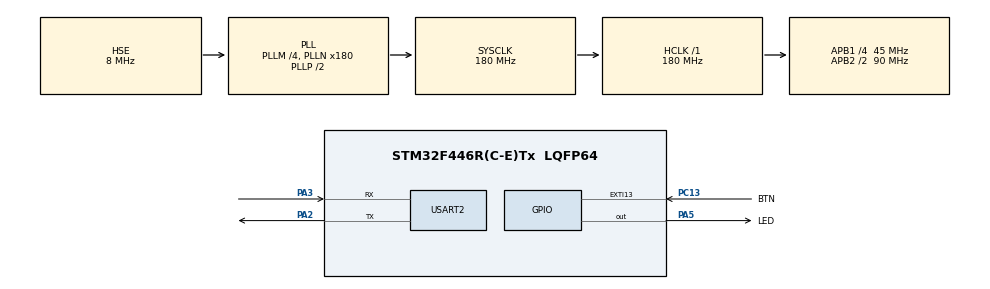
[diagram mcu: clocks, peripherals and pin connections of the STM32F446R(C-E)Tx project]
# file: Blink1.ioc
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Mcu.Family=STM32F4
Mcu.Name=STM32F446R(C-E)Tx
Mcu.Package=LQFP64
NVIC.EXTI15_10_IRQn=true\:0\:0\:false\:false\:true\:true\:true\:true
NVIC.PriorityGroup=NVIC_PRIORITYGROUP_4
PA13.Mode=Serial_Wire
PA13.Signal=SYS_JTMS-SWDIO
PA14.Mode=Serial_Wire
PA14.Signal=SYS_JTCK-SWCLK
PA2.Mode=Asynchronous
PA2.Signal=USART2_TX
PA3.Mode=Asynchronous
PA3.Signal=USART2_RX
PA5.GPIO_Label=LED
PA5.GPIO_ModeDefaultOutputPP=GPIO_MODE_OUTPUT_PP
PA5.GPIO_PuPd=GPIO_NOPULL
PA5.PinState=GPIO_PIN_SET
PA5.Signal=GPIO_Output
PC13.GPIO_Label=BTN
PC13.GPIO_PuPd=GPIO_PULLUP
PC13.Signal=GPXTI13
PH0-OSC_IN.Mode=HSE-External-Oscillator
PH0-OSC_IN.Signal=RCC_OSC_IN
PH1-OSC_OUT.Mode=HSE-External-Oscillator
PH1-OSC_OUT.Signal=RCC_OSC_OUT
ProjectManager.HeapSize=0x200
ProjectManager.StackSize=0x400
ProjectManager.TargetToolchain=STM32CubeIDE
RCC.AHBFreq_Value=180000000
RCC.APB1CLKDivider=RCC_HCLK_DIV4
RCC.APB1Freq_Value=45000000
RCC.APB1TimFreq_Value=90000000
RCC.APB2CLKDivider=RCC_HCLK_DIV2
RCC.APB2Freq_Value=90000000
RCC.APB2TimFreq_Value=180000000
RCC.CortexFreq_Value=180000000
RCC.HCLKFreq_Value=180000000
RCC.HSE_VALUE=8000000
RCC.PLLM=4
RCC.PLLN=180
RCC.PLLSourceVirtual=RCC_PLLSOURCE_HSE
RCC.SYSCLKFreq_VALUE=180000000
RCC.SYSCLKSource=RCC_SYSCLKSOURCE_PLLCLK
RCC.USBFreq_Value=180000000
RCC.VCOOutputFreq_Value=360000000
USART2.VirtualMode=VM_ASYNC
board=custom

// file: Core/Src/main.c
/* USER CODE BEGIN Header */
/**
 ******************************************************************************
 * @file           : main.c
 * @brief          : Main program body
 ******************************************************************************
 * @attention
 *
 * Copyright (c) 2026 STMicroelectronics.
 * All rights reserved.
 *
 * This software is licensed under terms that can be found in the LICENSE file
 * in the root directory of this software component.
 * If no LICENSE file comes with this software, it is provided AS-IS.
 *
 ******************************************************************************
 */
/* USER CODE END Header */
#include "main.h"

/* USER CODE BEGIN Includes */

#include<stdlib.h>
#include <stdio.h>

/* USER CODE END Includes */

UART_HandleTypeDef huart2;

/* USER CODE BEGIN PV */
uint8_t buttonPressed = 0;

uint32_t blinkDelays[] =
		{ 1000, 500, 250, 100 };

uint16_t blinkDelay = 0;
uint8_t delaysIndex = 0;

/* USER CODE END PV */

void SystemClock_Config(void);
static void MX_GPIO_Init(void);
static void MX_USART2_UART_Init(void);

/* USER CODE BEGIN 0 */
// Change &huart1 to &huart2 (or &huart3) depending on your board
int _write(int file, char *ptr, int len)
{
	HAL_UART_Transmit(&huart2, (uint8_t*) ptr, len, HAL_MAX_DELAY);
	return len;
}

void HAL_GPIO_EXTI_Callback(uint16_t GPIO_Pin)
{
	if (GPIO_Pin == BTN_Pin)
	{
		buttonPressed = 1;
	}
}
/* USER CODE END 0 */

int main(void)
{

	/* MCU Configuration--------------------------------------------------------*/

	/* Reset of all peripherals, Initializes the Flash interface and the Systick. */
	HAL_Init();

	/* Configure the system clock */
	SystemClock_Config();

	/* Initialize all configured peripherals */
	MX_GPIO_Init();
	MX_USART2_UART_Init();
	/* USER CODE BEGIN 2 */
	printf("Starting Blink1...\r\n");
	/* USER CODE END 2 */

	/* Infinite loop */
	/* USER CODE BEGIN WHILE */

	blinkDelay = blinkDelays[0];

	printf("Blink Delay: %u. \r\n", blinkDelay);

	uint32_t msSinceReset = 0;
	uint32_t nextBlink = blinkDelay;
	uint32_t nextTick = 0;
	uint32_t loop = 0;

	while (1)
	{
		msSinceReset = uwTick; // number of milliseconds since power on or reset

		if (msSinceReset >= nextBlink)
		{
			HAL_GPIO_TogglePin(LED_GPIO_Port, LED_Pin);

			nextBlink = msSinceReset + blinkDelay;
		}

		if (msSinceReset >= nextTick)
		{
			printf("Tick %lu (loop = %lu)\r\n", msSinceReset / 1000, loop);

			loop = 0;

			nextTick = msSinceReset + 1000;
		}

		if (buttonPressed)
		{
			delaysIndex++;

			if (delaysIndex > 3)
			{
				delaysIndex = 0;
			}

			blinkDelay = blinkDelays[delaysIndex];

			buttonPressed = 0;

			printf("Blink Delay: %d. \r\n", blinkDelay);
		}

		loop++;

		/* USER CODE END WHILE */

	}
}

void SystemClock_Config(void)
{
	RCC_OscInitTypeDef RCC_OscInitStruct =
			{ 0 };
	RCC_ClkInitTypeDef RCC_ClkInitStruct =
			{ 0 };

	/** Configure the main internal regulator output voltage
	 */
	__HAL_RCC_PWR_CLK_ENABLE();
	__HAL_PWR_VOLTAGESCALING_CONFIG(PWR_REGULATOR_VOLTAGE_SCALE1);

	/** Initializes the RCC Oscillators according to the specified parameters
	 * in the RCC_OscInitTypeDef structure.
	 */
	RCC_OscInitStruct.OscillatorType = RCC_OSCILLATORTYPE_HSE;
	RCC_OscInitStruct.HSEState = RCC_HSE_ON;
	RCC_OscInitStruct.PLL.PLLState = RCC_PLL_ON;
	RCC_OscInitStruct.PLL.PLLSource = RCC_PLLSOURCE_HSE;
	RCC_OscInitStruct.PLL.PLLM = 4;
	RCC_OscInitStruct.PLL.PLLN = 180;
	RCC_OscInitStruct.PLL.PLLP = RCC_PLLP_DIV2;
	RCC_OscInitStruct.PLL.PLLQ = 2;
	RCC_OscInitStruct.PLL.PLLR = 2;
	if (HAL_RCC_OscConfig(&RCC_OscInitStruct) != HAL_OK)
	{
		Error_Handler();
	}

	/** Activate the Over-Drive mode
	 */
	if (HAL_PWREx_EnableOverDrive() != HAL_OK)
	{
		Error_Handler();
	}

	/** Initializes the CPU, AHB and APB buses clocks
	 */
	RCC_ClkInitStruct.ClockType = RCC_CLOCKTYPE_HCLK | RCC_CLOCKTYPE_SYSCLK
			| RCC_CLOCKTYPE_PCLK1 | RCC_CLOCKTYPE_PCLK2;
	RCC_ClkInitStruct.SYSCLKSource = RCC_SYSCLKSOURCE_PLLCLK;
	RCC_ClkInitStruct.AHBCLKDivider = RCC_SYSCLK_DIV1;
	RCC_ClkInitStruct.APB1CLKDivider = RCC_HCLK_DIV4;
	RCC_ClkInitStruct.APB2CLKDivider = RCC_HCLK_DIV2;

	if (HAL_RCC_ClockConfig(&RCC_ClkInitStruct, FLASH_LATENCY_5) != HAL_OK)
	{
		Error_Handler();
	}
}

static void MX_USART2_UART_Init(void)
{

	huart2.Instance = USART2;
	huart2.Init.BaudRate = 115200;
	huart2.Init.WordLength = UART_WORDLENGTH_8B;
	huart2.Init.StopBits = UART_STOPBITS_1;
	huart2.Init.Parity = UART_PARITY_NONE;
	huart2.Init.Mode = UART_MODE_TX_RX;
	huart2.Init.HwFlowCtl = UART_HWCONTROL_NONE;
	huart2.Init.OverSampling = UART_OVERSAMPLING_16;
	if (HAL_UART_Init(&huart2) != HAL_OK)
	{
		Error_Handler();
	}

}

static void MX_GPIO_Init(void)
{
	GPIO_InitTypeDef GPIO_InitStruct =
			{ 0 };

	/* GPIO Ports Clock Enable */
	__HAL_RCC_GPIOC_CLK_ENABLE();
	__HAL_RCC_GPIOH_CLK_ENABLE();
	__HAL_RCC_GPIOA_CLK_ENABLE();

	/*Configure GPIO pin Output Level */
	HAL_GPIO_WritePin(LED_GPIO_Port, LED_Pin, GPIO_PIN_SET);

	/*Configure GPIO pin : BTN_Pin */
	GPIO_InitStruct.Pin = BTN_Pin;
	GPIO_InitStruct.Mode = GPIO_MODE_IT_RISING;
	GPIO_InitStruct.Pull = GPIO_PULLUP;
	HAL_GPIO_Init(BTN_GPIO_Port, &GPIO_InitStruct);

	/*Configure GPIO pin : LED_Pin */
	GPIO_InitStruct.Pin = LED_Pin;
	GPIO_InitStruct.Mode = GPIO_MODE_OUTPUT_PP;
	GPIO_InitStruct.Pull = GPIO_NOPULL;
	GPIO_InitStruct.Speed = GPIO_SPEED_FREQ_LOW;
	HAL_GPIO_Init(LED_GPIO_Port, &GPIO_InitStruct);

	/* EXTI interrupt init*/
	HAL_NVIC_SetPriority(EXTI15_10_IRQn, 0, 0);
	HAL_NVIC_EnableIRQ(EXTI15_10_IRQn);

}

void Error_Handler(void)
{
	__disable_irq();
	while (1)
	{
	}
}
